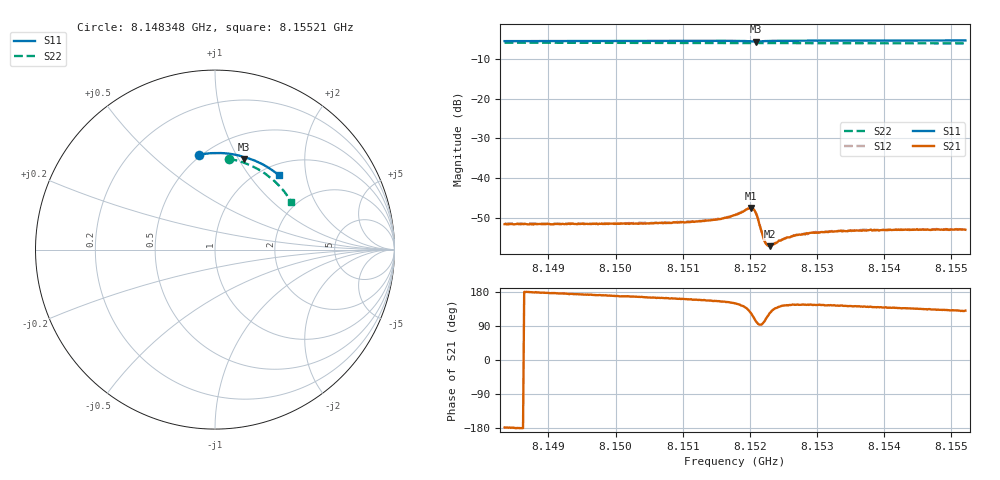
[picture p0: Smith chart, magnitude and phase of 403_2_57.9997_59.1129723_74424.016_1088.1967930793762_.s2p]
#  HZ  S  RI  R  50.00
! Rohde & Schwarz Vector Network Analyzer
! Rohde-Schwarz,ZNB20-2Port,1311601062101988,3.16
! Created: UTC 3/21/2024, 1:08:19 AM
! freq[Hz]  re:S11  im:S11  re:S21  im:S21  re:S12  im:S12  re:S22  im:S22
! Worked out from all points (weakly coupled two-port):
!   401 points, 8.148348 GHz to 8.15521 GHz, reference 50 ohm
!   highest |S21| = -47.55 dB at 8.152019 GHz (marker M1); lowest = -57.2 dB at 8.152294 GHz (marker M2)
!   lowest |S11| = -5.5 dB at 8.152088 GHz (marker M3), VSWR 3.24, Z = 37.8 + j52.8 ohm
!   |S11| at or under -10 dB: nowhere
!   |S22| runs from -6.0 to -5.8 dB; largest |S21 - S12| = 0.00013
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8.1483481e9  -0.0885 0.5284  -0.00262 -9.17e-05  -0.00267 -5.83e-05  0.0762 0.5062
8.1494975e9  -0.0089 0.5377  -0.00262 0.000314  -0.00263 0.000345  0.1485 0.4884
8.150647e9  0.0711 0.5351  -0.00262 0.000745  -0.00263 0.000764  0.2168 0.4603
8.1510587e9  0.0997 0.5311  -0.00262 0.00092  -0.00264 0.000956  0.2402 0.448
8.151419e9  0.1249 0.526  -0.0027 0.00116  -0.00271 0.00125  0.2599 0.4361
8.1516592e9  0.1421 0.5216  -0.00282 0.00144  -0.00285 0.00149  0.2727 0.4277
8.1517793e9  0.151 0.5186  -0.00293 0.00173  -0.00293 0.00176  0.2791 0.4233
8.151968e9  0.1644 0.5096  -0.00282 0.00296  -0.0028 0.00301  0.2889 0.4161
8.1520194e9  0.1659 0.5055  -0.00229 0.00352  -0.00224 0.00358  0.2913 0.4142
8.1520538e9  0.1651 0.5032  -0.00161 0.00371  -0.00157 0.00375  0.293 0.4128
8.1520881e9  0.1635 0.5027  -0.000803 0.00355  -0.000801 0.0036  0.2945 0.4116
8.1521224e9  0.1628 0.504  -0.000284 0.00302  -0.00029 0.00301  0.2963 0.4105
8.152191e9  0.1657 0.5081  -0.000207 0.00186  -0.000189 0.00184  0.2996 0.408
8.1522253e9  0.1685 0.5091  -0.000367 0.00151  -0.000388 0.00154  0.3014 0.4069
8.1522596e9  0.1715 0.5096  -0.000577 0.0013  -0.000572 0.00129  0.3033 0.4054
8.1522939e9  0.1744 0.5098  -0.000756 0.00115  -0.000752 0.00121  0.3049 0.404
8.1525341e9  0.1932 0.5062  -0.0014 0.00102  -0.00141 0.00105  0.3168 0.3943
8.1526885e9  0.2039 0.5025  -0.00157 0.00107  -0.00157 0.00111  0.3244 0.3879
8.1529287e9  0.2201 0.4964  -0.00168 0.00116  -0.00167 0.0012  0.3355 0.3777
8.1537007e9  0.269 0.4732  -0.0017 0.00137  -0.00171 0.00144  0.3695 0.3429
8.1540782e9  0.2914 0.4602  -0.00166 0.00149  -0.00162 0.00149  0.3847 0.3246
8.1552104e9  0.3551 0.415  -0.00144 0.0017  -0.00143 0.00173  0.4249 0.2664
